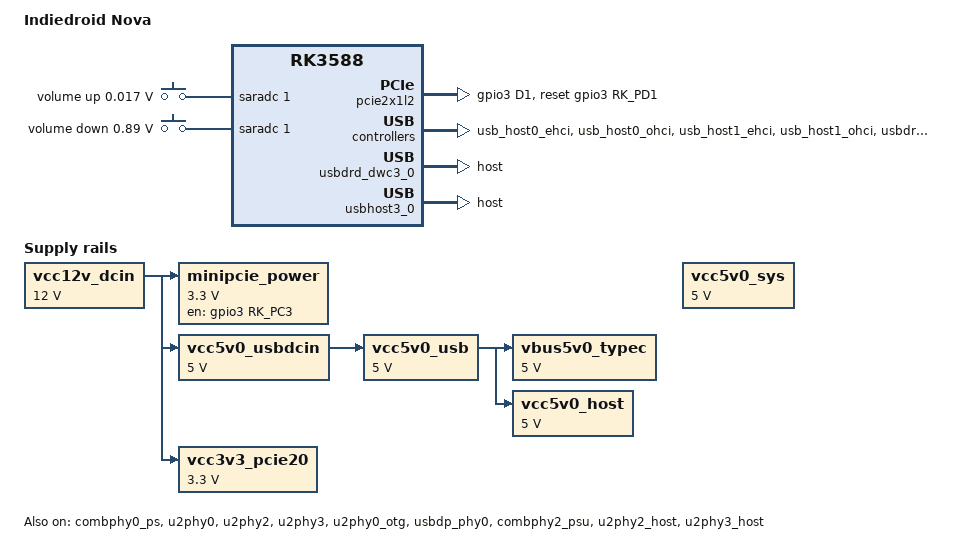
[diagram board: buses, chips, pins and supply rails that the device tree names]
// SPDX-License-Identifier: (GPL-2.0+ OR MIT)
/*
 * Copyright (c) 2021 Rockchip Electronics Co., Ltd
 *
 */

/dts-v1/;
#include "rk3588.dtsi"
#include "rk3588-u-boot.dtsi"
#include <dt-bindings/input/input.h>

/ {
	model = "Indiedroid Nova";
	compatible = "9tripod,rk3588s", "rockchip,rk3588";

	adc_keys: adc-keys {
		compatible = "adc-keys";
		io-channels = <&saradc 1>;
		io-channel-names = "buttons";
		keyup-threshold-microvolt = <1800000>;
		poll-interval = <100>;

		vol-up-key {
			label = "volume up";
			linux,code = <KEY_VOLUMEUP>;
			press-threshold-microvolt = <17000>;
		};

		vol-down-key {
			label = "volume down";
			linux,code = <KEY_VOLUMEDOWN>;
			press-threshold-microvolt = <890000>;
		};

	};

	vcc12v_dcin: vcc12v-dcin {
		u-boot,dm-pre-reloc;
		compatible = "regulator-fixed";
		regulator-name = "vcc12v_dcin";
		regulator-always-on;
		regulator-boot-on;
		regulator-min-microvolt = <12000000>;
		regulator-max-microvolt = <12000000>;
	};

	vcc5v0_sys: vcc5v0-sys {
		u-boot,dm-pre-reloc;
		compatible = "regulator-fixed";
		regulator-name = "vcc5v0_sys";
		regulator-always-on;
		regulator-boot-on;
		regulator-min-microvolt = <5000000>;
		regulator-max-microvolt = <5000000>;
	};

	minipcie_power: minipcie-power {
		u-boot,dm-pre-reloc;
		compatible = "regulator-fixed";
		regulator-name = "minipcie_power";
		regulator-min-microvolt = <3300000>;
		regulator-max-microvolt = <3300000>;
		enable-active-high;
		regulator-boot-on;
		regulator-always-on;
		gpios = <&gpio3 RK_PC3 GPIO_ACTIVE_HIGH>;
		vin-supply = <&vcc12v_dcin>;
	};

	vbus5v0_typec: vbus5v0-typec {
		u-boot,dm-pre-reloc;
		compatible = "regulator-fixed";
		regulator-name = "vbus5v0_typec";
		regulator-min-microvolt = <5000000>;
		regulator-max-microvolt = <5000000>;
		enable-active-high;
		//gpio = <&gpio1 RK_PA1 GPIO_ACTIVE_HIGH>;
		vin-supply = <&vcc5v0_usb>;
		//pinctrl-names = "default";
		//pinctrl-0 = <&typec5v_pwren>;
	};

	vcc5v0_usbdcin: vcc5v0-usbdcin {
		u-boot,dm-pre-reloc;
		compatible = "regulator-fixed";
		regulator-name = "vcc5v0_usbdcin";
		regulator-always-on;
		regulator-boot-on;
		regulator-min-microvolt = <5000000>;
		regulator-max-microvolt = <5000000>;
		vin-supply = <&vcc12v_dcin>;
	};

	vcc5v0_usb: vcc5v0-usb {
		u-boot,dm-pre-reloc;
		compatible = "regulator-fixed";
		regulator-name = "vcc5v0_usb";
		regulator-always-on;
		regulator-boot-on;
		regulator-min-microvolt = <5000000>;
		regulator-max-microvolt = <5000000>;
		vin-supply = <&vcc5v0_usbdcin>;
	};

	vcc3v3_pcie20: vcc3v3-pcie20 {
		u-boot,dm-pre-reloc;
		compatible = "regulator-fixed";
		regulator-name = "vcc3v3_pcie20";
		regulator-min-microvolt = <3300000>;
		regulator-max-microvolt = <3300000>;
		enable-active-high;
		//gpios = <&gpio4 RK_PB1 GPIO_ACTIVE_HIGH>;
		startup-delay-us = <5000>;
		vin-supply = <&vcc12v_dcin>;
	};

	vcc5v0_host: vcc5v0-host {
		u-boot,dm-pre-reloc;
		compatible = "regulator-fixed";
		regulator-name = "vcc5v0_host";
		regulator-boot-on;
		regulator-always-on;
		regulator-min-microvolt = <5000000>;
		regulator-max-microvolt = <5000000>;
		enable-active-high;
		//gpio = <&gpio1 RK_PB1 GPIO_ACTIVE_HIGH>;
		vin-supply = <&vcc5v0_usb>;
		//pinctrl-names = "default";
		//pinctrl-0 = <&vcc5v0_host_en>;
	};

	rtl8111 {
		u-boot,dm-pre-reloc;
		rtl8111_isolate: rtl8111-isolate {
			u-boot,dm-pre-reloc;
			rockchip,pins = <3 RK_PD1 RK_FUNC_GPIO &pcfg_pull_up>;
		};
	};

};

/* ???? */
&pcie2x1l2 {
	u-boot,dm-pre-reloc;
	reset-gpios = <&gpio3 RK_PD1 GPIO_ACTIVE_HIGH>;
	rockchip,skip-scan-in-resume;
	pinctrl-names = "default";
	pinctrl-0 = <&rtl8111_isolate>;
	status = "okay";
};

&combphy0_ps {
	u-boot,dm-pre-reloc;
	status = "okay";
};

&u2phy0 {
	u-boot,dm-pre-reloc;
	status = "okay";
};

&u2phy2 {
	u-boot,dm-pre-reloc;
	status = "okay";
};

&u2phy3 {
	u-boot,dm-pre-reloc;
	status = "okay";
};

&u2phy0_otg {
	u-boot,dm-pre-reloc;
	status = "okay";
};

&usb_host0_ehci {
	u-boot,dm-pre-reloc;
	status = "okay";
};

&usb_host0_ohci {
	u-boot,dm-pre-reloc;
	status = "okay";
};

&usb_host1_ehci {
	u-boot,dm-pre-reloc;
	status = "okay";
};

&usb_host1_ohci {
	u-boot,dm-pre-reloc;
	status = "okay";
};

&usbdp_phy0 {
	u-boot,dm-pre-reloc;
	status = "okay";
};

&usbdp_phy0_dp {
	u-boot,dm-pre-reloc;
	status = "disabled";
};

&usbdp_phy0_u3 {
	u-boot,dm-pre-reloc;
	status = "disabled";
};

&usbdrd3_0 {
	u-boot,dm-pre-reloc;
	status = "okay";
};

&usbdrd_dwc3_0 {
	u-boot,dm-pre-reloc;
	dr_mode = "host";
	status = "okay";
};

&usbhost_dwc3_0 {
	u-boot,dm-pre-reloc;
	status = "okay";
};

&combphy2_psu {
	u-boot,dm-pre-reloc;
	status = "okay";
};

&usbhost3_0 {
	u-boot,dm-pre-reloc;
	dr_mode = "host";
	status = "okay";
};


&u2phy0 {
	u-boot,dm-pre-reloc;
	status = "okay";
};

&u2phy2 {
	u-boot,dm-pre-reloc;
	status = "okay";
};

&u2phy3 {
	u-boot,dm-pre-reloc;
	status = "okay";
};

&u2phy0_otg {
	u-boot,dm-pre-reloc;
	status = "okay";
};

&u2phy2_host {
	u-boot,dm-pre-reloc;
	status = "okay";
};

&u2phy3_host {
	u-boot,dm-pre-reloc;
	status = "okay";
};

&usb_host0_ehci {
	u-boot,dm-pre-reloc;
	status = "okay";
};

&usb_host0_ohci {
	u-boot,dm-pre-reloc;
	status = "okay";
};

&usb_host1_ehci {
	u-boot,dm-pre-reloc;
	status = "okay";
};

&usb_host1_ohci {
	u-boot,dm-pre-reloc;
	status = "okay";
};

&usbdp_phy0 {
	u-boot,dm-pre-reloc;
	status = "okay";
};

&usbdp_phy0_dp {
	u-boot,dm-pre-reloc;
	status = "disabled";
};

&usbdp_phy0_u3 {
	u-boot,dm-pre-reloc;
	status = "disabled";
};

&usbdrd3_0 {
	u-boot,dm-pre-reloc;
	status = "okay";
};

&usbdrd_dwc3_0 {
	u-boot,dm-pre-reloc;
	dr_mode = "host";
	status = "okay";
};

&usbhost_dwc3_0 {
	u-boot,dm-pre-reloc;
	status = "okay";
};

&combphy2_psu {
	u-boot,dm-pre-reloc;
	status = "okay";
};

&usbhost3_0 {
	u-boot,dm-pre-reloc;
	dr_mode = "host";
	status = "okay";
};
